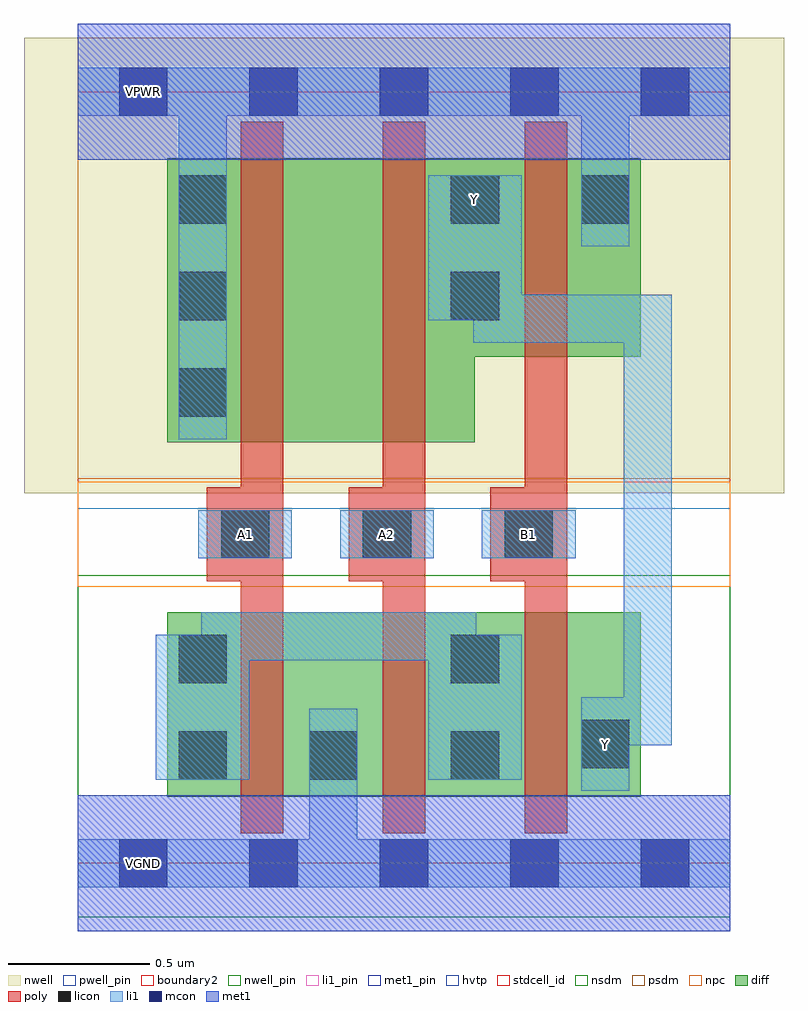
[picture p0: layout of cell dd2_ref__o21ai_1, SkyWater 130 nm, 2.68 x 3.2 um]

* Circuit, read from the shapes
.subckt dd2_ref__o21ai_1 A1 A2 B1 VGND VNB VPB VPWR Y
XM1 VGND A1 n1 VNB sky130_fd_pr__nfet_01v8 w=0.65 l=0.15
XM2 n1 A2 VGND VNB sky130_fd_pr__nfet_01v8 w=0.65 l=0.15
XM3 Y B1 n1 VNB sky130_fd_pr__nfet_01v8 w=0.65 l=0.15
XM4 n2 A1 VPWR VPB sky130_fd_pr__pfet_01v8_hvt w=1 l=0.15
XM5 Y A2 n2 VPB sky130_fd_pr__pfet_01v8_hvt w=1 l=0.15
XM6 VPWR B1 Y VPB sky130_fd_pr__pfet_01v8_hvt w=0.7 l=0.15
.ends

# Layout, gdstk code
import gdstk
lib = gdstk.Library(unit=1e-6, precision=1e-09)
def R(c, l, rs):  # rectangles x0, y0, x1, y1
    for r in rs: c.add(gdstk.rectangle(r[:2], r[2:], *l))
def A(c, l, x, y, w, h, nx, ny, dx, dy):  # array of equal rectangles
    R(c, l, [(x+i*dx, y+j*dy, x+i*dx+w, y+j*dy+h) for i in range(nx) for j in range(ny)])
nwell_pin = (64, 16)
nwell = (64, 20)
diff = (65, 20)
poly = (66, 20)
licon = (66, 44)
li1_pin = (67, 16)
li1 = (67, 20)
mcon = (67, 44)
met1_pin = (68, 16)
met1 = (68, 20)
hvtp = (78, 44)
stdcell_id = (81, 4)
nsdm = (93, 44)
psdm = (94, 20)
npc = (95, 20)
pwell_pin = (122, 16)
boundary2 = (236, 0)

dd2_ref__o21ai_1 = lib.new_cell('dd2_ref__o21ai_1')
R(dd2_ref__o21ai_1, nwell_pin, [(0.145,2.635,0.315,2.805)])
R(dd2_ref__o21ai_1, nwell, [(-0.19,1.305,2.49,2.91)])
R(dd2_ref__o21ai_1, diff, [(0.315,0.235,0.9,0.885), (0.9,0.235,1.4,0.885), (1.4,0.235,1.985,0.885), (0.315,1.485,0.9,2.485), (0.9,1.485,1.4,2.485), (1.4,1.785,1.985,2.485)])
A(dd2_ref__o21ai_1, poly, 0.575, 0.105, 0.15, 2.51, 3, 1, 0.5, 0)
A(dd2_ref__o21ai_1, poly, 0.455, 0.995, 0.27, 0.33, 3, 1, 0.5, 0)
A(dd2_ref__o21ai_1, licon, 0.505, 1.075, 0.17, 0.17, 3, 1, 0.5, 0)
A(dd2_ref__o21ai_1, licon, 0.355, 1.575, 0.17, 0.17, 1, 3, 0, 0.34)
R(dd2_ref__o21ai_1, licon, [(0.355,0.295,0.525,0.465), (0.815,0.295,0.985,0.465), (1.315,0.295,1.485,0.465), (1.775,0.335,1.945,0.505), (0.355,0.635,0.525,0.805), (1.315,0.635,1.485,0.805), (1.315,1.915,1.485,2.085), (1.315,2.255,1.485,2.425), (1.775,2.255,1.945,2.425)])
A(dd2_ref__o21ai_1, li1_pin, 0.505, 1.075, 0.17, 0.17, 3, 1, 0.5, 0)
R(dd2_ref__o21ai_1, li1_pin, [(1.775,0.335,1.945,0.505), (1.315,2.255,1.485,2.425)])
A(dd2_ref__o21ai_1, li1, 0.425, 1.075, 0.33, 0.17, 3, 1, 0.5, 0)
R(dd2_ref__o21ai_1, li1, [(0,-0.085,2.3,0.085), (0.815,-0.085,0.985,0.545), (1.775,0.255,1.945,0.585), (0.275,0.295,0.605,0.465), (0.275,0.295,0.605,0.805), (0.435,0.295,0.605,0.885), (1.235,0.295,1.565,0.465), (1.235,0.295,1.405,0.885), (1.235,0.295,1.565,0.805), (1.775,0.415,2.095,0.585), (1.925,0.415,2.095,2.005), (0.435,0.715,1.405,0.885), (0.355,1.495,0.525,2.085), (0.355,1.835,0.525,2.425), (1.395,1.835,2.095,2.005), (1.395,1.835,1.565,2.425), (1.235,1.915,1.565,2.425), (0.355,2.085,0.525,2.175), (0.355,2.085,0.525,2.175), (0.355,2.085,0.525,2.175), (0.355,2.085,0.525,2.175), (0.355,2.175,0.525,2.805), (1.775,2.175,1.945,2.805), (1.235,2.255,1.565,2.425), (0,2.635,2.3,2.805)])
A(dd2_ref__o21ai_1, mcon, 0.145, -0.085, 0.17, 0.17, 5, 2, 0.46, 2.72)
R(dd2_ref__o21ai_1, met1_pin, [(0.145,-0.085,0.315,0.085), (0.145,2.635,0.315,2.805)])
R(dd2_ref__o21ai_1, met1, [(0,-0.24,2.3,0.24), (0,2.48,2.3,2.96)])
R(dd2_ref__o21ai_1, hvtp, [(0,1.25,2.3,2.72)])
R(dd2_ref__o21ai_1, stdcell_id, [(0,0,2.3,2.72)])
R(dd2_ref__o21ai_1, nsdm, [(0,-0.19,2.3,1.015)])
R(dd2_ref__o21ai_1, psdm, [(0,1.355,2.3,2.91)])
R(dd2_ref__o21ai_1, npc, [(0,0.975,2.3,1.345)])
R(dd2_ref__o21ai_1, pwell_pin, [(0.145,-0.085,0.315,0.085)])
R(dd2_ref__o21ai_1, boundary2, [(0,0,2.3,2.72)])
dd2_ref__o21ai_1.add(gdstk.Label('A1', (0.59,1.16), layer=67, texttype=5))
dd2_ref__o21ai_1.add(gdstk.Label('A2', (1.09,1.16), layer=67, texttype=5))
dd2_ref__o21ai_1.add(gdstk.Label('B1', (1.59,1.16), layer=67, texttype=5))
dd2_ref__o21ai_1.add(gdstk.Label('Y', (1.86,0.42), layer=67, texttype=5))
dd2_ref__o21ai_1.add(gdstk.Label('Y', (1.4,2.34), layer=67, texttype=5))
dd2_ref__o21ai_1.add(gdstk.Label('VGND', (0.23,0), layer=68, texttype=5))
dd2_ref__o21ai_1.add(gdstk.Label('VPWR', (0.23,2.72), layer=68, texttype=5))
dd2_ref__o21ai_1.add(gdstk.Label('VPB', (0.23,2.72), layer=64, texttype=5))
dd2_ref__o21ai_1.add(gdstk.Label('VNB', (0.23,0), layer=64, texttype=59))

lib.write_gds('dd2_ref__o21ai_1.gds')
